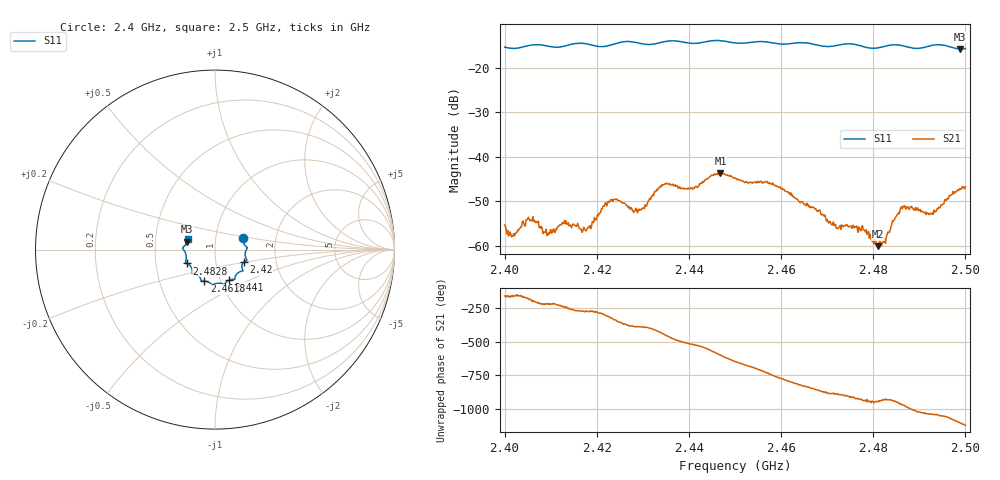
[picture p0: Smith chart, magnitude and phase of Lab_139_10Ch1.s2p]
# Hz S RI R 50
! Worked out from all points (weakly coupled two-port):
!   601 points, 2.4 GHz to 2.5 GHz, reference 50 ohm
!   highest |S21| = -43.75 dB at 2.4468 GHz (marker M1); lowest = -60.1 dB at 2.481 GHz (marker M2)
!   lowest |S11| = -15.8 dB at 2.4988 GHz (marker M3), VSWR 1.39, Z = 36.4 + j3.29 ohm
!   |S11| at or under -10 dB: start of sweep to end of sweep
!   S12 and S22 are empty: the file has one direction only
!   S11 on the Smith chart (normalised r, x): 2.4 GHz: 1.36, +0.18; 2.42 GHz: 1.36, -0.20; 2.441 GHz: 1.10, -0.39; 2.4618 GHz: 0.84, -0.30; 2.4828 GHz: 0.72, -0.11; 2.5 GHz: 0.73, +0.09
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2.4e9  0.1574 0.063  -0.00161 -0.000605  0 0  0 0
2.402e9  0.1595 0.0388  -0.00129 -0.000459  0 0  0 0
2.405667e9  0.1784 0.0124  -0.0019 0.000314  0 0  0 0
2.408833e9  0.1765 0.00336  -0.00103 0.000978  0 0  0 0
2.413e9  0.1696 -0.0397  -0.000929 0.00169  0 0  0 0
2.416667e9  0.1779 -0.0601  0.0001 0.00152  0 0  0 0
2.42e9  0.1593 -0.0697  0.000289 0.00202  0 0  0 0
2.4235e9  0.1506 -0.1026  0.0027 0.0016  0 0  0 0
2.429167e9  0.1443 -0.1208  0.00219 -0.0012  0 0  0 0
2.433333e9  0.1123 -0.1511  0.00195 -0.00396  0 0  0 0
2.441e9  0.0785 -0.1697  -0.0042 -0.00148  0 0  0 0
2.446833e9  0.0491 -0.1946  -0.00328 0.0056  0 0  0 0
2.45e9  0.0285 -0.1871  0.00174 0.00553  0 0  0 0
2.461833e9  -0.0593 -0.1757  0.000916 -0.00384  0 0  0 0
2.466667e9  -0.0777 -0.1681  -0.00167 -0.00218  0 0  0 0
2.481e9  -0.1426 -0.0859  -0.000681 0.000723  0 0  0 0
2.482833e9  -0.1574 -0.0773  -0.00106 0.000664  0 0  0 0
2.483333e9  -0.1604 -0.0762  -0.00119 0.000793  0 0  0 0
2.486333e9  -0.1633 -0.0658  -0.00092 0.00244  0 0  0 0
2.4925e9  -0.1766 0.00145  0.00181 0.00143  0 0  0 0
2.498833e9  -0.1554 0.044  0.004 -0.00186  0 0  0 0
2.5e9  -0.1517 0.0609  0.00327 -0.00324  0 0  0 0
